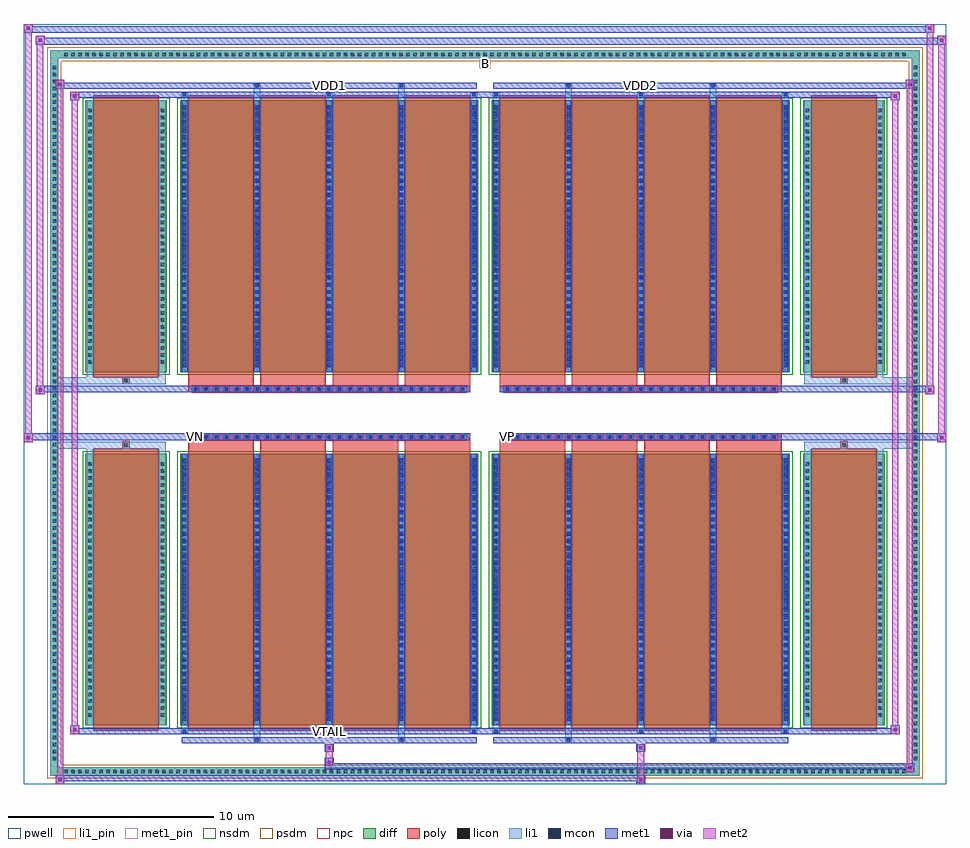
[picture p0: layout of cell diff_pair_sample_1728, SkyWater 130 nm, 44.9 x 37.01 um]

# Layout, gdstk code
import gdstk
lib = gdstk.Library(unit=1e-6, precision=5e-09)
def R(c, l, rs):  # rectangles x0, y0, x1, y1
    for r in rs: c.add(gdstk.rectangle(r[:2], r[2:], *l))
def A(c, l, x, y, w, h, nx, ny, dx, dy):  # array of equal rectangles
    R(c, l, [(x+i*dx, y+j*dy, x+i*dx+w, y+j*dy+h) for i in range(nx) for j in range(ny)])
def P(c, l, *ps):  # polygons
    for p in ps: c.add(gdstk.Polygon(p, *l))
pwell = (64, 44)
diff = (65, 20)
poly = (66, 20)
licon = (66, 44)
li1_pin = (67, 16)
li1 = (67, 20)
mcon = (67, 44)
met1_pin = (68, 16)
met1 = (68, 20)
via = (68, 44)
met2 = (69, 20)
nsdm = (93, 44)
psdm = (94, 20)
npc = (95, 20)

diff_pair_sample_1728 = lib.new_cell('diff_pair_sample_1728')
R(diff_pair_sample_1728, pwell, [(-22.45,-18.07,22.45,18.94), (-19.77,-16.26,-0.01,-0.8), (0.01,-16.26,19.77,-0.8), (-19.77,0.8,-0.01,16.26), (0.01,0.8,19.77,16.26)])
A(diff_pair_sample_1728, diff, -20.605, -17.67, 0.41, 0.41, 121, 2, 0.34, 34.93)
A(diff_pair_sample_1728, diff, -21.18, -17.035, 0.41, 0.41, 1, 100, 0, 0.34)
A(diff_pair_sample_1728, diff, 20.77, -17.035, 0.41, 0.41, 1, 100, 0, 0.34)
R(diff_pair_sample_1728, diff, [(-20.605,-17.67,20.605,-17.26), (-21.18,-17.035,-20.77,17.035), (20.77,-17.035,21.18,17.035), (-19.46,-15.215,-15.49,-1.985), (-14.85,-15.215,-0.32,-1.985), (0.32,-15.215,14.85,-1.985), (15.49,-15.215,19.46,-1.985), (-19.46,1.985,-15.49,15.215), (-14.85,1.985,-0.32,15.215), (0.32,1.985,14.85,15.215), (15.49,1.985,19.46,15.215), (-20.605,17.26,20.605,17.67)])
P(diff_pair_sample_1728, diff, [(21.18,17.67),(-21.18,17.67),(-21.18,-17.26),(-20.77,-17.26),(-20.77,17.26),(20.77,17.26),(20.77,-17.26),(-20.77,-17.26),(-21.18,-17.26),(-21.18,-17.67),(21.18,-17.67)])
A(diff_pair_sample_1728, poly, -14.46, -15.465, 3.19, 13.73, 4, 2, 3.52, 17.2)
A(diff_pair_sample_1728, poly, 0.71, -15.465, 3.19, 13.73, 4, 2, 3.52, 17.2)
A(diff_pair_sample_1728, poly, -14.46, -1.735, 3.19, 0.405, 4, 2, 3.52, 3.065)
A(diff_pair_sample_1728, poly, 0.71, -1.735, 3.19, 0.405, 4, 2, 3.52, 3.065)
A(diff_pair_sample_1728, poly, -14.25, -1.33, 0.33, 0.33, 27, 2, 0.5, 2.33)
A(diff_pair_sample_1728, poly, 0.92, -1.33, 0.33, 0.33, 27, 2, 0.5, 2.33)
R(diff_pair_sample_1728, poly, [(-19.07,-15.465,-15.88,-1.735), (15.88,-15.465,19.07,-1.735), (-17.64,-1.735,-17.31,-1.405), (-17.64,-1.735,-17.31,-1.405), (17.31,-1.735,17.64,-1.405), (17.31,-1.735,17.64,-1.405), (-14.46,-1.33,-0.71,-1), (0.71,-1.33,14.46,-1), (-14.46,1,-0.71,1.33), (0.71,1,14.46,1.33), (-17.64,1.405,-17.31,1.735), (-17.64,1.405,-17.31,1.735), (17.31,1.405,17.64,1.735), (17.31,1.405,17.64,1.735), (-19.07,1.735,-15.88,15.465), (15.88,1.735,19.07,15.465)])
A(diff_pair_sample_1728, licon, -20.485, -17.55, 0.17, 0.17, 121, 2, 0.34, 34.93)
A(diff_pair_sample_1728, licon, -21.06, -16.915, 0.17, 0.17, 1, 100, 0, 0.34)
A(diff_pair_sample_1728, licon, 20.89, -16.915, 0.17, 0.17, 1, 100, 0, 0.34)
A(diff_pair_sample_1728, licon, -19.32, -14.805, 0.17, 0.17, 1, 37, 0, 0.34)
A(diff_pair_sample_1728, licon, -15.8, -14.805, 0.17, 0.17, 1, 37, 0, 0.34)
A(diff_pair_sample_1728, licon, -14.71, -14.805, 0.17, 0.17, 5, 37, 3.52, 0.34)
A(diff_pair_sample_1728, licon, 0.46, -14.805, 0.17, 0.17, 5, 37, 3.52, 0.34)
A(diff_pair_sample_1728, licon, 15.63, -14.805, 0.17, 0.17, 1, 37, 0, 0.34)
A(diff_pair_sample_1728, licon, 19.15, -14.805, 0.17, 0.17, 1, 37, 0, 0.34)
A(diff_pair_sample_1728, licon, -14.17, -1.25, 0.17, 0.17, 27, 2, 0.5, 2.33)
A(diff_pair_sample_1728, licon, 1, -1.25, 0.17, 0.17, 27, 2, 0.5, 2.33)
A(diff_pair_sample_1728, licon, -19.32, 2.395, 0.17, 0.17, 1, 37, 0, 0.34)
A(diff_pair_sample_1728, licon, -15.8, 2.395, 0.17, 0.17, 1, 37, 0, 0.34)
A(diff_pair_sample_1728, licon, -14.71, 2.395, 0.17, 0.17, 5, 37, 3.52, 0.34)
A(diff_pair_sample_1728, licon, 0.46, 2.395, 0.17, 0.17, 5, 37, 3.52, 0.34)
A(diff_pair_sample_1728, licon, 15.63, 2.395, 0.17, 0.17, 1, 37, 0, 0.34)
A(diff_pair_sample_1728, licon, 19.15, 2.395, 0.17, 0.17, 1, 37, 0, 0.34)
R(diff_pair_sample_1728, licon, [(-17.56,-1.655,-17.39,-1.485), (17.39,-1.655,17.56,-1.485), (-17.56,1.485,-17.39,1.655), (17.39,1.485,17.56,1.655)])
R(diff_pair_sample_1728, li1_pin, [(-0.25,16.76,0.25,17.26)])
A(diff_pair_sample_1728, li1, -20.565, -17.63, 0.33, 0.33, 121, 2, 0.34, 34.93)
A(diff_pair_sample_1728, li1, -21.14, -16.995, 0.33, 0.33, 1, 100, 0, 0.34)
A(diff_pair_sample_1728, li1, 20.81, -16.995, 0.33, 0.33, 1, 100, 0, 0.34)
A(diff_pair_sample_1728, li1, -14.79, -15.59, 0.33, 0.375, 3, 2, 7.04, 30.805)
A(diff_pair_sample_1728, li1, -14.71, -15.59, 0.17, 0.17, 3, 2, 7.04, 31.01)
A(diff_pair_sample_1728, li1, 0.38, -15.59, 0.33, 0.375, 3, 2, 7.04, 30.805)
A(diff_pair_sample_1728, li1, 0.46, -15.59, 0.17, 0.17, 3, 2, 7.04, 31.01)
A(diff_pair_sample_1728, li1, -14.79, -15.215, 0.33, 13.23, 5, 2, 3.52, 17.2)
A(diff_pair_sample_1728, li1, 0.38, -15.215, 0.33, 13.23, 5, 2, 3.52, 17.2)
A(diff_pair_sample_1728, li1, -14.71, -14.985, 0.17, 0.17, 5, 36, 3.52, 0.36)
A(diff_pair_sample_1728, li1, -14.71, -14.985, 0.17, 12.77, 5, 2, 3.52, 17.2)
A(diff_pair_sample_1728, li1, 0.46, -14.985, 0.17, 0.17, 5, 36, 3.52, 0.36)
A(diff_pair_sample_1728, li1, 0.46, -14.985, 0.17, 12.77, 5, 2, 3.52, 17.2)
A(diff_pair_sample_1728, li1, -19.4, -14.885, 0.33, 0.33, 1, 37, 0, 0.34)
A(diff_pair_sample_1728, li1, -15.88, -14.885, 0.33, 0.33, 1, 37, 0, 0.34)
A(diff_pair_sample_1728, li1, -14.79, -14.885, 0.33, 0.33, 5, 37, 3.52, 0.34)
A(diff_pair_sample_1728, li1, 0.38, -14.885, 0.33, 0.33, 5, 37, 3.52, 0.34)
A(diff_pair_sample_1728, li1, 15.55, -14.885, 0.33, 0.33, 1, 37, 0, 0.34)
A(diff_pair_sample_1728, li1, 19.07, -14.885, 0.33, 0.33, 1, 37, 0, 0.34)
A(diff_pair_sample_1728, li1, -14.25, -1.33, 0.33, 0.33, 27, 2, 0.5, 2.33)
A(diff_pair_sample_1728, li1, 0.92, -1.33, 0.33, 0.33, 27, 2, 0.5, 2.33)
A(diff_pair_sample_1728, li1, -14.71, 2.215, 0.17, 0.17, 5, 36, 3.52, 0.36)
A(diff_pair_sample_1728, li1, 0.46, 2.215, 0.17, 0.17, 5, 36, 3.52, 0.36)
A(diff_pair_sample_1728, li1, -19.4, 2.315, 0.33, 0.33, 1, 37, 0, 0.34)
A(diff_pair_sample_1728, li1, -15.88, 2.315, 0.33, 0.33, 1, 37, 0, 0.34)
A(diff_pair_sample_1728, li1, -14.79, 2.315, 0.33, 0.33, 5, 37, 3.52, 0.34)
A(diff_pair_sample_1728, li1, 0.38, 2.315, 0.33, 0.33, 5, 37, 3.52, 0.34)
A(diff_pair_sample_1728, li1, 15.55, 2.315, 0.33, 0.33, 1, 37, 0, 0.34)
A(diff_pair_sample_1728, li1, 19.07, 2.315, 0.33, 0.33, 1, 37, 0, 0.34)
R(diff_pair_sample_1728, li1, [(-21.18,-17.67,-20.77,-17.26), (-21.18,-17.67,-20.77,-17.26), (-20.77,-17.67,20.77,-17.26), (20.77,-17.67,21.18,-17.26), (20.77,-17.67,21.18,-17.26), (-21.18,-17.26,-20.77,17.26), (20.77,-17.26,21.18,17.26), (-11.27,-16.02,-10.94,-15.215), (-11.19,-16.02,-11.02,-15.85), (-4.23,-16.02,-3.9,-15.215), (-4.15,-16.02,-3.98,-15.85), (3.9,-16.02,4.23,-15.215), (3.98,-16.02,4.15,-15.85), (10.94,-16.02,11.27,-15.215), (11.02,-16.02,11.19,-15.85), (-19.4,-15.215,-19.07,-1.985), (-15.88,-15.215,-15.55,-1.985), (15.55,-15.215,15.88,-1.985), (19.07,-15.215,19.4,-1.985), (-19.4,-1.985,-19.07,-1.405), (-15.88,-1.985,-15.55,-1.405), (15.55,-1.985,15.88,-1.405), (19.07,-1.985,19.4,-1.405), (-21.18,-1.735,-17.64,-1.405), (-19.4,-1.735,-17.64,-1.405), (-17.64,-1.735,-17.31,-1.405), (-17.31,-1.735,-15.55,-1.405), (15.55,-1.735,17.31,-1.405), (17.31,-1.735,17.64,-1.405), (17.31,-1.735,21.18,-1.405), (17.64,-1.735,19.4,-1.405), (-21.18,1.405,-17.64,1.735), (-19.4,1.405,-17.64,1.735), (-19.4,1.405,-19.07,1.985), (-17.64,1.405,-17.31,1.735), (-17.31,1.405,-15.55,1.735), (-15.88,1.405,-15.55,1.985), (15.55,1.405,17.31,1.735), (15.55,1.405,15.88,1.985), (17.31,1.405,17.64,1.735), (17.31,1.405,21.18,1.735), (17.64,1.405,19.4,1.735), (19.07,1.405,19.4,1.985), (-19.4,1.985,-19.07,15.215), (-15.88,1.985,-15.55,15.215), (15.55,1.985,15.88,15.215), (19.07,1.985,19.4,15.215), (-11.27,15.215,-10.94,16.02), (-4.23,15.215,-3.9,16.02), (3.9,15.215,4.23,16.02), (10.94,15.215,11.27,16.02), (-11.19,15.85,-11.02,16.02), (-4.15,15.85,-3.98,16.02), (3.98,15.85,4.15,16.02), (11.02,15.85,11.19,16.02), (-21.18,17.26,-20.77,17.67), (-21.18,17.26,-20.77,17.67), (-20.77,17.26,20.77,17.67), (20.77,17.26,21.18,17.67), (20.77,17.26,21.18,17.67)])
A(diff_pair_sample_1728, mcon, -14.71, -15.59, 0.17, 0.17, 3, 2, 7.04, 31.01)
A(diff_pair_sample_1728, mcon, 0.46, -15.59, 0.17, 0.17, 3, 2, 7.04, 31.01)
A(diff_pair_sample_1728, mcon, -14.71, -14.985, 0.17, 0.17, 5, 36, 3.52, 0.36)
A(diff_pair_sample_1728, mcon, 0.46, -14.985, 0.17, 0.17, 5, 36, 3.52, 0.36)
A(diff_pair_sample_1728, mcon, -14.17, -1.25, 0.17, 0.17, 27, 2, 0.5, 2.33)
A(diff_pair_sample_1728, mcon, 1, -1.25, 0.17, 0.17, 27, 2, 0.5, 2.33)
A(diff_pair_sample_1728, mcon, -14.71, 2.215, 0.17, 0.17, 5, 36, 3.52, 0.36)
A(diff_pair_sample_1728, mcon, 0.46, 2.215, 0.17, 0.17, 5, 36, 3.52, 0.36)
R(diff_pair_sample_1728, mcon, [(-11.19,-16.02,-11.02,-15.85), (-4.15,-16.02,-3.98,-15.85), (3.98,-16.02,4.15,-15.85), (11.02,-16.02,11.19,-15.85), (-11.19,15.85,-11.02,16.02), (-4.15,15.85,-3.98,16.02), (3.98,15.85,4.15,16.02), (11.02,15.85,11.19,16.02)])
R(diff_pair_sample_1728, met1_pin, [(-7.72,-15.63,-7.45,-15.36), (-14.22,-1.29,-13.95,-1.02), (0.95,-1.29,1.22,-1.02), (-7.72,15.81,-7.45,16.08), (7.45,15.81,7.72,16.08)])
A(diff_pair_sample_1728, met1, -14.77, -15.65, 0.29, 0.29, 3, 2, 7.04, 31.01)
A(diff_pair_sample_1728, met1, 0.4, -15.65, 0.29, 0.29, 3, 2, 7.04, 31.01)
A(diff_pair_sample_1728, met1, -14.77, -15.215, 0.29, 13.23, 5, 2, 3.52, 17.2)
A(diff_pair_sample_1728, met1, 0.4, -15.215, 0.29, 13.23, 5, 2, 3.52, 17.2)
A(diff_pair_sample_1728, met1, -14.77, -15.045, 0.29, 0.29, 5, 36, 3.52, 0.36)
A(diff_pair_sample_1728, met1, 0.4, -15.045, 0.29, 0.29, 5, 36, 3.52, 0.36)
A(diff_pair_sample_1728, met1, -14.23, -1.31, 0.29, 0.29, 27, 2, 0.5, 2.33)
A(diff_pair_sample_1728, met1, 0.94, -1.31, 0.29, 0.29, 27, 2, 0.5, 2.33)
A(diff_pair_sample_1728, met1, -14.77, 2.155, 0.29, 0.29, 5, 36, 3.52, 0.36)
A(diff_pair_sample_1728, met1, 0.4, 2.155, 0.29, 0.29, 5, 36, 3.52, 0.36)
R(diff_pair_sample_1728, met1, [(-20.91,-18.07,-20.48,-17.64), (7.37,-18.07,7.8,-17.64), (-20.91,-17.93,7.8,-17.64), (20.48,-17.5,20.91,-17.07), (-7.8,-17.36,20.91,-17.07), (-7.8,-17.22,-7.37,-16.79), (-7.8,-16.51,-7.37,-16.08), (7.37,-16.51,7.8,-16.08), (-14.77,-16.08,-0.4,-15.79), (-11.25,-16.08,-10.96,-15.79), (-4.21,-16.08,-3.92,-15.79), (0.4,-16.08,14.77,-15.79), (3.92,-16.08,4.21,-15.79), (10.96,-16.08,11.25,-15.79), (-20.2,-15.65,-19.77,-15.22), (-20.2,-15.65,-14.77,-15.36), (-14.77,-15.65,-0.4,-15.36), (-0.4,-15.65,0.4,-15.36), (0.4,-15.65,14.77,-15.36), (14.77,-15.65,20.2,-15.36), (19.77,-15.65,20.2,-15.22), (-22.45,-1.43,-22.02,-1), (22.02,-1.43,22.45,-1), (-22.45,-1.33,-0.71,-1), (-14.46,-1.33,-0.71,-1), (0.71,-1.33,14.46,-1), (0.71,-1.33,22.45,-1), (-21.88,0.9,-21.45,1.33), (21.45,0.9,21.88,1.33), (-21.88,1,-14.46,1.33), (-14.46,1,-0.71,1.33), (0.71,1,14.46,1.33), (14.46,1,21.88,1.33), (-20.2,15.22,-19.77,15.65), (19.77,15.22,20.2,15.65), (-20.2,15.36,-14.77,15.65), (-14.77,15.36,-0.4,15.65), (-0.4,15.36,0.4,15.65), (0.4,15.36,14.77,15.65), (14.77,15.36,20.2,15.65), (-20.91,15.79,-20.48,16.22), (-20.91,15.79,-14.77,16.08), (-14.77,15.79,-0.4,16.08), (-11.25,15.79,-10.96,16.08), (-4.21,15.79,-3.92,16.08), (0.4,15.79,14.77,16.08), (3.92,15.79,4.21,16.08), (10.96,15.79,11.25,16.08), (14.77,15.79,20.91,16.08), (20.48,15.79,20.91,16.22), (-21.88,17.94,-21.45,18.37), (-21.88,17.94,-19.77,18.27), (-19.77,17.94,19.77,18.27), (19.77,17.94,22.45,18.27), (22.02,17.94,22.45,18.37), (-22.45,18.51,-22.02,18.94), (-22.45,18.51,-19.77,18.84), (-19.77,18.51,19.77,18.84), (19.77,18.51,21.88,18.84), (21.45,18.51,21.88,18.94)])
R(diff_pair_sample_1728, via, [(-20.77,-17.93,-20.62,-17.78), (7.51,-17.93,7.66,-17.78), (20.62,-17.36,20.77,-17.21), (-7.66,-17.08,-7.51,-16.93), (-7.66,-16.37,-7.51,-16.22), (7.51,-16.37,7.66,-16.22), (-20.06,-15.51,-19.91,-15.36), (19.91,-15.51,20.06,-15.36), (-22.31,-1.29,-22.16,-1.14), (22.16,-1.29,22.31,-1.14), (-21.74,1.04,-21.59,1.19), (21.59,1.04,21.74,1.19), (-20.06,15.36,-19.91,15.51), (19.91,15.36,20.06,15.51), (-20.77,15.93,-20.62,16.08), (20.62,15.93,20.77,16.08), (-21.74,18.08,-21.59,18.23), (22.16,18.08,22.31,18.23), (-22.31,18.65,-22.16,18.8), (21.59,18.65,21.74,18.8)])
R(diff_pair_sample_1728, met2, [(-20.91,-18.07,-20.48,-17.64), (-20.84,-18.07,-20.55,16.22), (-20.55,-18.07,-20.48,-17.64), (-20.86,-18.02,-20.53,-17.69), (7.42,-18.02,7.75,-17.69), (7.42,-17.69,7.75,-16.46), (20.48,-17.5,20.91,-17.07), (20.55,-17.5,20.84,16.22), (20.84,-17.5,20.91,-17.07), (20.53,-17.45,20.86,-17.12), (-7.75,-17.17,-7.42,-16.84), (-7.75,-16.84,-7.42,-16.46), (-7.75,-16.46,-7.42,-16.13), (7.42,-16.46,7.75,-16.13), (-20.2,-15.65,-19.77,-15.22), (-20.13,-15.65,-19.84,15.65), (-19.84,-15.65,-19.77,-15.22), (19.77,-15.65,20.2,-15.22), (19.84,-15.65,20.13,15.65), (20.13,-15.65,20.2,-15.22), (-20.15,-15.6,-19.82,-15.27), (19.82,-15.6,20.15,-15.27), (-22.45,-1.43,-22.02,-1), (-22.4,-1.43,-22.07,18.94), (-22.07,-1.43,-22.02,-1), (22.02,-1.43,22.45,-1), (22.07,-1.43,22.4,18.37), (22.4,-1.43,22.45,-1), (-22.4,-1.38,-22.07,-1.05), (22.07,-1.38,22.4,-1.05), (-21.88,0.9,-21.45,1.33), (-21.83,0.9,-21.5,18.37), (-21.5,0.9,-21.45,1.33), (21.45,0.9,21.88,1.33), (21.5,0.9,21.83,18.94), (21.83,0.9,21.88,1.33), (-21.83,0.95,-21.5,1.28), (21.5,0.95,21.83,1.28), (-20.2,15.22,-19.77,15.65), (-19.84,15.22,-19.77,15.65), (19.77,15.22,20.2,15.65), (20.13,15.22,20.2,15.65), (-20.15,15.27,-19.82,15.6), (19.82,15.27,20.15,15.6), (-20.91,15.79,-20.48,16.22), (-20.55,15.79,-20.48,16.22), (20.48,15.79,20.91,16.22), (20.84,15.79,20.91,16.22), (-20.86,15.84,-20.53,16.17), (20.53,15.84,20.86,16.17), (-21.88,17.94,-21.45,18.37), (-21.5,17.94,-21.45,18.37), (22.02,17.94,22.45,18.37), (22.4,17.94,22.45,18.37), (-21.83,17.99,-21.5,18.32), (22.07,17.99,22.4,18.32), (-22.45,18.51,-22.02,18.94), (-22.07,18.51,-22.02,18.94), (21.45,18.51,21.88,18.94), (21.83,18.51,21.88,18.94), (-22.4,18.56,-22.07,18.89), (21.5,18.56,21.83,18.89)])
R(diff_pair_sample_1728, nsdm, [(-19.59,-15.345,-15.36,-1.855), (-14.98,-15.345,-0.19,-1.855), (0.19,-15.345,14.98,-1.855), (15.36,-15.345,19.59,-1.855), (-19.59,1.855,-15.36,15.345), (-14.98,1.855,-0.19,15.345), (0.19,1.855,14.98,15.345), (15.36,1.855,19.59,15.345)])
P(diff_pair_sample_1728, psdm, [(21.31,17.8),(-21.31,17.8),(-21.31,-17.13),(-20.64,-17.13),(-20.64,17.13),(20.64,17.13),(20.64,-17.13),(-20.64,-17.13),(-21.31,-17.13),(-21.31,-17.8),(21.31,-17.8)])
A(diff_pair_sample_1728, npc, -14.27, -1.35, 0.37, 0.37, 27, 2, 0.5, 2.33)
A(diff_pair_sample_1728, npc, 0.9, -1.35, 0.37, 0.37, 27, 2, 0.5, 2.33)
R(diff_pair_sample_1728, npc, [(-17.66,-1.755,-17.29,-1.385), (17.29,-1.755,17.66,-1.385), (-14.27,-1.35,-13.4,-0.98), (-14.27,-1.35,-13.4,-0.98), (-13.77,-1.35,-12.9,-0.98), (-13.77,-1.35,-12.9,-0.98), (-13.27,-1.35,-12.4,-0.98), (-13.27,-1.35,-12.4,-0.98), (-12.77,-1.35,-11.9,-0.98), (-12.77,-1.35,-11.9,-0.98), (-12.27,-1.35,-11.4,-0.98), (-12.27,-1.35,-11.4,-0.98), (-11.77,-1.35,-10.9,-0.98), (-11.77,-1.35,-10.9,-0.98), (-11.27,-1.35,-10.4,-0.98), (-11.27,-1.35,-10.4,-0.98), (-10.77,-1.35,-9.9,-0.98), (-10.77,-1.35,-9.9,-0.98), (-10.27,-1.35,-9.4,-0.98), (-10.27,-1.35,-9.4,-0.98), (-9.77,-1.35,-8.9,-0.98), (-9.77,-1.35,-8.9,-0.98), (-9.27,-1.35,-8.4,-0.98), (-9.27,-1.35,-8.4,-0.98), (-8.77,-1.35,-7.9,-0.98), (-8.77,-1.35,-7.9,-0.98), (-8.27,-1.35,-7.4,-0.98), (-8.27,-1.35,-7.4,-0.98), (-7.77,-1.35,-6.9,-0.98), (-7.77,-1.35,-6.9,-0.98), (-7.27,-1.35,-6.4,-0.98), (-7.27,-1.35,-6.4,-0.98), (-6.77,-1.35,-5.9,-0.98), (-6.77,-1.35,-5.9,-0.98), (-6.27,-1.35,-5.4,-0.98), (-6.27,-1.35,-5.4,-0.98), (-5.77,-1.35,-4.9,-0.98), (-5.77,-1.35,-4.9,-0.98), (-5.27,-1.35,-4.4,-0.98), (-5.27,-1.35,-4.4,-0.98), (-4.77,-1.35,-3.9,-0.98), (-4.77,-1.35,-3.9,-0.98), (-4.27,-1.35,-3.4,-0.98), (-4.27,-1.35,-3.4,-0.98), (-3.77,-1.35,-2.9,-0.98), (-3.77,-1.35,-2.9,-0.98), (-3.27,-1.35,-2.4,-0.98), (-3.27,-1.35,-2.4,-0.98), (-2.77,-1.35,-1.9,-0.98), (-2.77,-1.35,-1.9,-0.98), (-2.27,-1.35,-1.4,-0.98), (-2.27,-1.35,-1.4,-0.98), (-1.77,-1.35,-0.9,-0.98), (-1.77,-1.35,-0.9,-0.98), (0.9,-1.35,1.77,-0.98), (0.9,-1.35,1.77,-0.98), (1.4,-1.35,2.27,-0.98), (1.4,-1.35,2.27,-0.98), (1.9,-1.35,2.77,-0.98), (1.9,-1.35,2.77,-0.98), (2.4,-1.35,3.27,-0.98), (2.4,-1.35,3.27,-0.98), (2.9,-1.35,3.77,-0.98), (2.9,-1.35,3.77,-0.98), (3.4,-1.35,4.27,-0.98), (3.4,-1.35,4.27,-0.98), (3.9,-1.35,4.77,-0.98), (3.9,-1.35,4.77,-0.98), (4.4,-1.35,5.27,-0.98), (4.4,-1.35,5.27,-0.98), (4.9,-1.35,5.77,-0.98), (4.9,-1.35,5.77,-0.98), (5.4,-1.35,6.27,-0.98), (5.4,-1.35,6.27,-0.98), (5.9,-1.35,6.77,-0.98), (5.9,-1.35,6.77,-0.98), (6.4,-1.35,7.27,-0.98), (6.4,-1.35,7.27,-0.98), (6.9,-1.35,7.77,-0.98), (6.9,-1.35,7.77,-0.98), (7.4,-1.35,8.27,-0.98), (7.4,-1.35,8.27,-0.98), (7.9,-1.35,8.77,-0.98), (7.9,-1.35,8.77,-0.98), (8.4,-1.35,9.27,-0.98), (8.4,-1.35,9.27,-0.98), (8.9,-1.35,9.77,-0.98), (8.9,-1.35,9.77,-0.98), (9.4,-1.35,10.27,-0.98), (9.4,-1.35,10.27,-0.98), (9.9,-1.35,10.77,-0.98), (9.9,-1.35,10.77,-0.98), (10.4,-1.35,11.27,-0.98), (10.4,-1.35,11.27,-0.98), (10.9,-1.35,11.77,-0.98), (10.9,-1.35,11.77,-0.98), (11.4,-1.35,12.27,-0.98), (11.4,-1.35,12.27,-0.98), (11.9,-1.35,12.77,-0.98), (11.9,-1.35,12.77,-0.98), (12.4,-1.35,13.27,-0.98), (12.4,-1.35,13.27,-0.98), (12.9,-1.35,13.77,-0.98), (12.9,-1.35,13.77,-0.98), (13.4,-1.35,14.27,-0.98), (13.4,-1.35,14.27,-0.98), (-14.27,0.98,-13.4,1.35), (-14.27,0.98,-13.4,1.35), (-13.77,0.98,-12.9,1.35), (-13.77,0.98,-12.9,1.35), (-13.27,0.98,-12.4,1.35), (-13.27,0.98,-12.4,1.35), (-12.77,0.98,-11.9,1.35), (-12.77,0.98,-11.9,1.35), (-12.27,0.98,-11.4,1.35), (-12.27,0.98,-11.4,1.35), (-11.77,0.98,-10.9,1.35), (-11.77,0.98,-10.9,1.35), (-11.27,0.98,-10.4,1.35), (-11.27,0.98,-10.4,1.35), (-10.77,0.98,-9.9,1.35), (-10.77,0.98,-9.9,1.35), (-10.27,0.98,-9.4,1.35), (-10.27,0.98,-9.4,1.35), (-9.77,0.98,-8.9,1.35), (-9.77,0.98,-8.9,1.35), (-9.27,0.98,-8.4,1.35), (-9.27,0.98,-8.4,1.35), (-8.77,0.98,-7.9,1.35), (-8.77,0.98,-7.9,1.35), (-8.27,0.98,-7.4,1.35), (-8.27,0.98,-7.4,1.35), (-7.77,0.98,-6.9,1.35), (-7.77,0.98,-6.9,1.35), (-7.27,0.98,-6.4,1.35), (-7.27,0.98,-6.4,1.35), (-6.77,0.98,-5.9,1.35), (-6.77,0.98,-5.9,1.35), (-6.27,0.98,-5.4,1.35), (-6.27,0.98,-5.4,1.35), (-5.77,0.98,-4.9,1.35), (-5.77,0.98,-4.9,1.35), (-5.27,0.98,-4.4,1.35), (-5.27,0.98,-4.4,1.35), (-4.77,0.98,-3.9,1.35), (-4.77,0.98,-3.9,1.35), (-4.27,0.98,-3.4,1.35), (-4.27,0.98,-3.4,1.35), (-3.77,0.98,-2.9,1.35), (-3.77,0.98,-2.9,1.35), (-3.27,0.98,-2.4,1.35), (-3.27,0.98,-2.4,1.35), (-2.77,0.98,-1.9,1.35), (-2.77,0.98,-1.9,1.35), (-2.27,0.98,-1.4,1.35), (-2.27,0.98,-1.4,1.35), (-1.77,0.98,-0.9,1.35), (-1.77,0.98,-0.9,1.35), (0.9,0.98,1.77,1.35), (0.9,0.98,1.77,1.35), (1.4,0.98,2.27,1.35), (1.4,0.98,2.27,1.35), (1.9,0.98,2.77,1.35), (1.9,0.98,2.77,1.35), (2.4,0.98,3.27,1.35), (2.4,0.98,3.27,1.35), (2.9,0.98,3.77,1.35), (2.9,0.98,3.77,1.35), (3.4,0.98,4.27,1.35), (3.4,0.98,4.27,1.35), (3.9,0.98,4.77,1.35), (3.9,0.98,4.77,1.35), (4.4,0.98,5.27,1.35), (4.4,0.98,5.27,1.35), (4.9,0.98,5.77,1.35), (4.9,0.98,5.77,1.35), (5.4,0.98,6.27,1.35), (5.4,0.98,6.27,1.35), (5.9,0.98,6.77,1.35), (5.9,0.98,6.77,1.35), (6.4,0.98,7.27,1.35), (6.4,0.98,7.27,1.35), (6.9,0.98,7.77,1.35), (6.9,0.98,7.77,1.35), (7.4,0.98,8.27,1.35), (7.4,0.98,8.27,1.35), (7.9,0.98,8.77,1.35), (7.9,0.98,8.77,1.35), (8.4,0.98,9.27,1.35), (8.4,0.98,9.27,1.35), (8.9,0.98,9.77,1.35), (8.9,0.98,9.77,1.35), (9.4,0.98,10.27,1.35), (9.4,0.98,10.27,1.35), (9.9,0.98,10.77,1.35), (9.9,0.98,10.77,1.35), (10.4,0.98,11.27,1.35), (10.4,0.98,11.27,1.35), (10.9,0.98,11.77,1.35), (10.9,0.98,11.77,1.35), (11.4,0.98,12.27,1.35), (11.4,0.98,12.27,1.35), (11.9,0.98,12.77,1.35), (11.9,0.98,12.77,1.35), (12.4,0.98,13.27,1.35), (12.4,0.98,13.27,1.35), (12.9,0.98,13.77,1.35), (12.9,0.98,13.77,1.35), (13.4,0.98,14.27,1.35), (13.4,0.98,14.27,1.35), (-17.66,1.385,-17.29,1.755), (17.29,1.385,17.66,1.755)])
diff_pair_sample_1728.add(gdstk.Label('VTAIL', (-7.585,-15.495), layer=68, texttype=5))
diff_pair_sample_1728.add(gdstk.Label('VN', (-14.085,-1.155), layer=68, texttype=5))
diff_pair_sample_1728.add(gdstk.Label('VP', (1.085,-1.155), layer=68, texttype=5))
diff_pair_sample_1728.add(gdstk.Label('B', (0,17.01), layer=67, texttype=5))
diff_pair_sample_1728.add(gdstk.Label('VDD2', (7.585,15.945), layer=68, texttype=5))
diff_pair_sample_1728.add(gdstk.Label('VDD1', (-7.585,15.945), layer=68, texttype=5))

lib.write_gds('diff_pair_sample_1728.gds')
